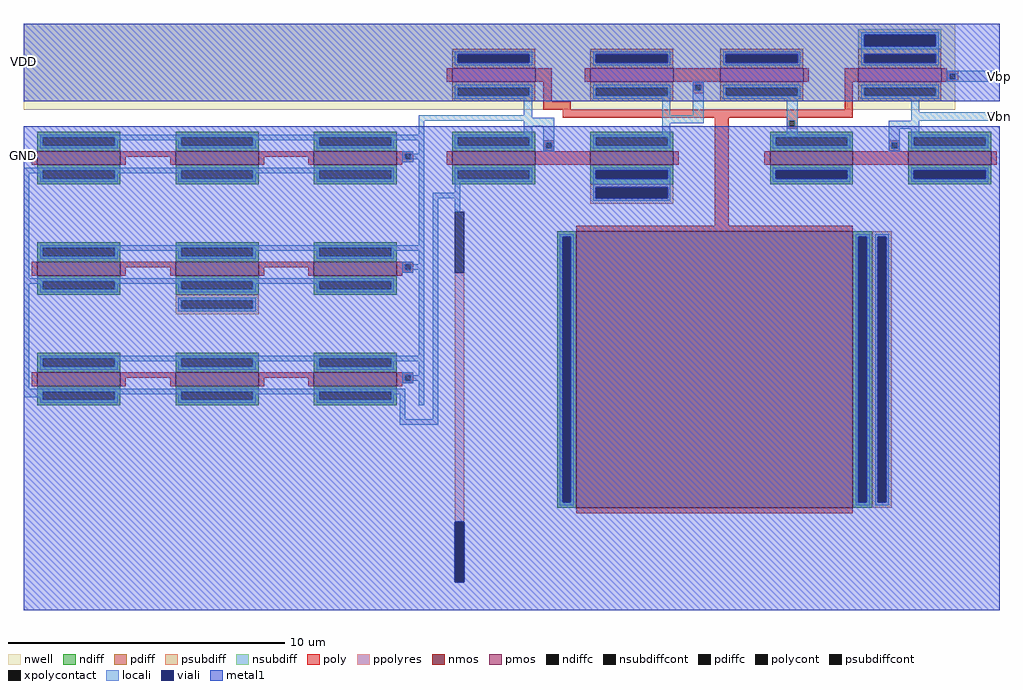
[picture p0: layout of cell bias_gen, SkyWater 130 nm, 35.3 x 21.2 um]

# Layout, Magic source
magic
tech sky130A
<< nwell >>
rect -1660 250 1710 560
<< nmos >>
rect -1610 50 -1310 100
rect -1110 50 -810 100
rect -610 50 -310 100
rect -110 50 190 100
rect 390 50 690 100
rect -1610 -350 -1310 -300
rect -1110 -350 -810 -300
rect -610 -350 -310 -300
rect 1040 50 1340 100
rect 1540 50 1840 100
rect -1610 -750 -1310 -700
rect -1110 -750 -810 -700
rect -610 -750 -310 -700
rect 340 -1190 1340 -190
<< pmos >>
rect -110 350 190 400
rect 390 350 690 400
rect 860 350 1160 400
rect 1360 350 1660 400
<< ndiff >>
rect -1610 150 -1310 170
rect -1610 120 -1590 150
rect -1330 120 -1310 150
rect -1610 100 -1310 120
rect -1110 150 -810 170
rect -1110 120 -1090 150
rect -830 120 -810 150
rect -1110 100 -810 120
rect -610 150 -310 170
rect -610 120 -590 150
rect -330 120 -310 150
rect -610 100 -310 120
rect -110 150 190 170
rect -110 120 -90 150
rect 170 120 190 150
rect 390 150 690 170
rect -110 100 190 120
rect 390 120 410 150
rect 670 120 690 150
rect 390 100 690 120
rect -1610 30 -1310 50
rect -1610 0 -1590 30
rect -1330 0 -1310 30
rect -1610 -20 -1310 0
rect -1110 30 -810 50
rect -1110 0 -1090 30
rect -830 0 -810 30
rect -1110 -20 -810 0
rect -610 30 -310 50
rect -610 0 -590 30
rect -330 0 -310 30
rect -610 -20 -310 0
rect -110 30 190 50
rect -110 0 -90 30
rect 170 0 190 30
rect -110 -20 190 0
rect 390 30 690 50
rect 390 0 410 30
rect 670 0 690 30
rect 390 -20 690 0
rect -1610 -250 -1310 -230
rect -1610 -280 -1590 -250
rect -1330 -280 -1310 -250
rect -1610 -300 -1310 -280
rect -1110 -250 -810 -230
rect -1110 -280 -1090 -250
rect -830 -280 -810 -250
rect -1110 -300 -810 -280
rect -610 -250 -310 -230
rect -610 -280 -590 -250
rect -330 -280 -310 -250
rect -610 -300 -310 -280
rect 1040 150 1340 170
rect 1040 120 1060 150
rect 1320 120 1340 150
rect 1540 150 1840 170
rect 1040 100 1340 120
rect 1540 120 1560 150
rect 1820 120 1840 150
rect 1540 100 1840 120
rect 1040 30 1340 50
rect 1040 0 1060 30
rect 1320 0 1340 30
rect 1040 -20 1340 0
rect 1540 30 1840 50
rect 1540 0 1560 30
rect 1820 0 1840 30
rect 1540 -20 1840 0
rect -1610 -370 -1310 -350
rect -1610 -400 -1590 -370
rect -1330 -400 -1310 -370
rect -1610 -420 -1310 -400
rect -1110 -370 -810 -350
rect -1110 -400 -1090 -370
rect -830 -400 -810 -370
rect -1110 -420 -810 -400
rect -610 -370 -310 -350
rect -610 -400 -590 -370
rect -330 -400 -310 -370
rect -610 -420 -310 -400
rect -1610 -650 -1310 -630
rect -1610 -680 -1590 -650
rect -1330 -680 -1310 -650
rect -1610 -700 -1310 -680
rect -1110 -650 -810 -630
rect -1110 -680 -1090 -650
rect -830 -680 -810 -650
rect -1110 -700 -810 -680
rect -610 -650 -310 -630
rect -610 -680 -590 -650
rect -330 -680 -310 -650
rect -610 -700 -310 -680
rect -1610 -770 -1310 -750
rect -1610 -800 -1590 -770
rect -1330 -800 -1310 -770
rect -1610 -820 -1310 -800
rect -1110 -770 -810 -750
rect -1110 -800 -1090 -770
rect -830 -800 -810 -770
rect -1110 -820 -810 -800
rect -610 -770 -310 -750
rect -610 -800 -590 -770
rect -330 -800 -310 -770
rect -610 -820 -310 -800
rect 270 -210 340 -190
rect 270 -1170 290 -210
rect 320 -1170 340 -210
rect 270 -1190 340 -1170
rect 1340 -210 1410 -190
rect 1340 -1170 1360 -210
rect 1390 -1170 1410 -210
rect 1340 -1190 1410 -1170
<< pdiff >>
rect -110 450 190 470
rect -110 420 -90 450
rect 170 420 190 450
rect -110 400 190 420
rect 390 450 690 470
rect 390 420 410 450
rect 670 420 690 450
rect 390 400 690 420
rect 860 450 1160 470
rect 860 420 880 450
rect 1140 420 1160 450
rect 860 400 1160 420
rect 1360 450 1660 470
rect 1360 420 1380 450
rect 1640 420 1660 450
rect 1360 400 1660 420
rect -110 330 190 350
rect -110 300 -90 330
rect 170 300 190 330
rect -110 280 190 300
rect 390 330 690 350
rect 390 300 410 330
rect 670 300 690 330
rect 860 330 1160 350
rect 390 280 690 300
rect 860 300 880 330
rect 1140 300 1160 330
rect 860 280 1160 300
rect 1360 330 1660 350
rect 1360 300 1380 330
rect 1640 300 1660 330
rect 1360 280 1660 300
<< ndiffc >>
rect -1590 120 -1330 150
rect -1090 120 -830 150
rect -590 120 -330 150
rect -90 120 170 150
rect 410 120 670 150
rect -1590 0 -1330 30
rect -1090 0 -830 30
rect -590 0 -330 30
rect -90 0 170 30
rect 410 0 670 30
rect -1590 -280 -1330 -250
rect -1090 -280 -830 -250
rect -590 -280 -330 -250
rect 1060 120 1320 150
rect 1560 120 1820 150
rect 1060 0 1320 30
rect 1560 0 1820 30
rect -1590 -400 -1330 -370
rect -1090 -400 -830 -370
rect -590 -400 -330 -370
rect -1590 -680 -1330 -650
rect -1090 -680 -830 -650
rect -590 -680 -330 -650
rect -1590 -800 -1330 -770
rect -1090 -800 -830 -770
rect -590 -800 -330 -770
rect 290 -1170 320 -210
rect 1360 -1170 1390 -210
<< pdiffc >>
rect -90 420 170 450
rect 410 420 670 450
rect 880 420 1140 450
rect 1380 420 1640 450
rect -90 300 170 330
rect 410 300 670 330
rect 880 300 1140 330
rect 1380 300 1640 330
<< psubdiff >>
rect 390 -30 690 -20
rect 390 -70 410 -30
rect 670 -70 690 -30
rect 390 -90 690 -70
rect -1110 -440 -810 -420
rect -1110 -470 -1090 -440
rect -830 -470 -810 -440
rect -1110 -490 -810 -470
rect 1410 -210 1480 -190
rect 1410 -1170 1430 -210
rect 1460 -1170 1480 -210
rect 1410 -1190 1480 -1170
<< nsubdiff >>
rect 1360 520 1660 540
rect 1360 480 1380 520
rect 1640 480 1660 520
rect 1360 470 1660 480
<< psubdiffcont >>
rect 410 -70 670 -30
rect -1090 -470 -830 -440
rect 1430 -1170 1460 -210
<< nsubdiffcont >>
rect 1380 480 1640 520
<< poly >>
rect -130 350 -110 400
rect 190 350 250 400
rect 370 350 390 400
rect 690 350 860 400
rect 1160 350 1180 400
rect 1310 350 1360 400
rect 1660 390 1680 400
rect 1660 380 1720 390
rect 1660 360 1690 380
rect 1710 360 1720 380
rect 1660 350 1720 360
rect 220 280 250 350
rect 760 340 800 350
rect 760 320 770 340
rect 790 320 800 340
rect 760 310 800 320
rect 220 250 320 280
rect 1310 250 1340 350
rect 290 220 1340 250
rect 220 130 260 140
rect 220 110 230 130
rect 250 110 260 130
rect 220 100 260 110
rect -1630 50 -1610 100
rect -1310 80 -1110 100
rect -1310 50 -1290 80
rect -1130 50 -1110 80
rect -810 80 -610 100
rect -810 50 -790 80
rect -630 50 -610 80
rect -310 90 -250 100
rect -310 70 -280 90
rect -260 70 -250 90
rect -310 60 -250 70
rect -310 50 -290 60
rect -130 50 -110 100
rect 190 50 390 100
rect 690 50 710 100
rect -1630 -350 -1610 -300
rect -1310 -320 -1110 -300
rect -1310 -350 -1290 -320
rect -1130 -350 -1110 -320
rect -810 -320 -610 -300
rect -810 -350 -790 -320
rect -630 -350 -610 -320
rect -310 -310 -250 -300
rect -310 -330 -280 -310
rect -260 -330 -250 -310
rect -310 -340 -250 -330
rect 840 -170 890 220
rect 1100 210 1140 220
rect 1100 190 1110 210
rect 1130 190 1140 210
rect 1100 180 1140 190
rect 1470 130 1510 140
rect 1470 110 1480 130
rect 1500 110 1510 130
rect 1470 100 1510 110
rect 1020 50 1040 100
rect 1340 50 1540 100
rect 1840 50 1860 100
rect 340 -190 1340 -170
rect -310 -350 -290 -340
rect -1630 -750 -1610 -700
rect -1310 -720 -1110 -700
rect -1310 -750 -1290 -720
rect -1130 -750 -1110 -720
rect -810 -720 -610 -700
rect -810 -750 -790 -720
rect -630 -750 -610 -720
rect -310 -710 -250 -700
rect -310 -730 -280 -710
rect -260 -730 -250 -710
rect -310 -740 -250 -730
rect -310 -750 -290 -740
rect 340 -1210 1340 -1190
<< polycont >>
rect 1690 360 1710 380
rect 770 320 790 340
rect 230 110 250 130
rect -280 70 -260 90
rect -280 -330 -260 -310
rect 1110 190 1130 210
rect 1480 110 1500 130
rect -280 -730 -260 -710
<< xpolycontact >>
rect -100 -340 -65 -120
rect -100 -1460 -65 -1240
<< ppolyres >>
rect -100 -1240 -65 -340
<< locali >>
rect 1370 520 1650 530
rect 1370 480 1380 520
rect 1640 480 1650 520
rect -100 450 180 460
rect -100 420 -90 450
rect 170 420 180 450
rect -100 410 180 420
rect 400 450 680 460
rect 400 420 410 450
rect 670 420 680 450
rect 400 410 680 420
rect 870 450 1150 460
rect 870 420 880 450
rect 1140 420 1150 450
rect 870 410 1150 420
rect 1370 450 1650 480
rect 1370 420 1380 450
rect 1640 420 1650 450
rect 1370 410 1650 420
rect 1680 380 1870 390
rect 1680 360 1690 380
rect 1710 360 1870 380
rect 1680 350 1870 360
rect 760 340 800 350
rect -100 330 180 340
rect -100 300 -90 330
rect 170 300 180 330
rect -100 290 180 300
rect 400 330 680 340
rect 400 300 410 330
rect 670 300 680 330
rect 400 290 680 300
rect 150 230 180 290
rect -230 220 180 230
rect 650 230 680 290
rect 760 320 770 340
rect 790 320 800 340
rect 760 230 800 320
rect 870 330 1150 340
rect 870 300 880 330
rect 1140 300 1150 330
rect 870 290 1150 300
rect 1370 330 1650 340
rect 1370 300 1380 330
rect 1640 300 1650 330
rect 1370 290 1650 300
rect -230 210 260 220
rect -230 160 -210 210
rect 150 190 260 210
rect 150 160 180 190
rect -1600 150 -210 160
rect -1600 120 -1590 150
rect -1330 140 -1090 150
rect -1330 120 -1320 140
rect -1600 110 -1320 120
rect -1100 120 -1090 140
rect -830 140 -590 150
rect -830 120 -820 140
rect -1100 110 -820 120
rect -600 120 -590 140
rect -330 140 -210 150
rect -330 120 -320 140
rect -600 110 -320 120
rect -290 90 -250 100
rect -230 90 -210 140
rect -100 150 180 160
rect -100 120 -90 150
rect 170 120 180 150
rect -100 110 180 120
rect 220 130 260 190
rect 650 200 800 230
rect 1100 210 1140 290
rect 1550 240 1580 290
rect 1550 210 1870 240
rect 650 160 680 200
rect 1100 190 1110 210
rect 1130 190 1140 210
rect 1100 160 1140 190
rect 1470 180 1580 210
rect 220 110 230 130
rect 250 110 260 130
rect 400 150 680 160
rect 400 120 410 150
rect 670 120 680 150
rect 400 110 680 120
rect 1050 150 1330 160
rect 1050 120 1060 150
rect 1320 120 1330 150
rect 1050 110 1330 120
rect 1470 130 1510 180
rect 1470 110 1480 130
rect 1500 110 1510 130
rect 1550 160 1580 180
rect 1550 150 1830 160
rect 1550 120 1560 150
rect 1820 120 1830 150
rect 1550 110 1830 120
rect 220 100 260 110
rect 1470 100 1510 110
rect -290 70 -280 90
rect -260 70 -210 90
rect -290 60 -250 70
rect -1660 30 -320 40
rect -1660 20 -1590 30
rect -1660 -360 -1640 20
rect -1600 0 -1590 20
rect -1330 20 -1090 30
rect -1330 0 -1320 20
rect -1600 -10 -1320 0
rect -1100 0 -1090 20
rect -830 20 -590 30
rect -830 0 -820 20
rect -1100 -10 -820 0
rect -600 0 -590 20
rect -330 0 -320 30
rect -600 -10 -320 0
rect -230 -240 -210 70
rect -100 30 180 40
rect -100 0 -90 30
rect 170 0 180 30
rect -100 -10 180 0
rect 400 30 680 40
rect 400 0 410 30
rect 670 0 680 30
rect -100 -50 -80 -10
rect -1600 -250 -210 -240
rect -1600 -280 -1590 -250
rect -1330 -260 -1090 -250
rect -1330 -280 -1320 -260
rect -1600 -290 -1320 -280
rect -1100 -280 -1090 -260
rect -830 -260 -590 -250
rect -830 -280 -820 -260
rect -1100 -290 -820 -280
rect -600 -280 -590 -260
rect -330 -260 -210 -250
rect -330 -280 -320 -260
rect -600 -290 -320 -280
rect -290 -310 -250 -300
rect -230 -310 -210 -260
rect -290 -330 -280 -310
rect -260 -330 -210 -310
rect -290 -340 -250 -330
rect -1660 -370 -320 -360
rect -1660 -380 -1590 -370
rect -1660 -760 -1640 -380
rect -1600 -400 -1590 -380
rect -1330 -380 -1090 -370
rect -1330 -400 -1320 -380
rect -1600 -410 -1320 -400
rect -1100 -400 -1090 -380
rect -830 -380 -590 -370
rect -830 -400 -820 -380
rect -1100 -410 -820 -400
rect -600 -400 -590 -380
rect -330 -400 -320 -370
rect -600 -410 -320 -400
rect -1100 -440 -820 -430
rect -1100 -470 -1090 -440
rect -830 -470 -820 -440
rect -1100 -480 -820 -470
rect -230 -640 -210 -330
rect -1600 -650 -210 -640
rect -1600 -680 -1590 -650
rect -1330 -660 -1090 -650
rect -1330 -680 -1320 -660
rect -1600 -690 -1320 -680
rect -1100 -680 -1090 -660
rect -830 -660 -590 -650
rect -830 -680 -820 -660
rect -1100 -690 -820 -680
rect -600 -680 -590 -660
rect -330 -660 -210 -650
rect -330 -680 -320 -660
rect -600 -690 -320 -680
rect -290 -710 -250 -700
rect -230 -710 -210 -660
rect -290 -730 -280 -710
rect -260 -730 -210 -710
rect -290 -740 -250 -730
rect -1660 -770 -280 -760
rect -1660 -790 -1590 -770
rect -1600 -800 -1590 -790
rect -1330 -780 -1090 -770
rect -1330 -800 -1320 -780
rect -1600 -810 -1320 -800
rect -1100 -800 -1090 -780
rect -830 -780 -590 -770
rect -830 -800 -820 -780
rect -1100 -810 -820 -800
rect -600 -800 -590 -780
rect -330 -780 -280 -770
rect -330 -800 -320 -780
rect -600 -810 -320 -800
rect -300 -870 -280 -780
rect -230 -820 -210 -730
rect -180 -70 -80 -50
rect -180 -870 -160 -70
rect -100 -120 -80 -70
rect 400 -30 680 0
rect 1050 30 1330 40
rect 1050 0 1060 30
rect 1320 0 1330 30
rect 1050 -10 1330 0
rect 1550 30 1830 40
rect 1550 0 1560 30
rect 1820 0 1830 30
rect 1550 -10 1830 0
rect 400 -70 410 -30
rect 670 -70 680 -30
rect 400 -80 680 -70
rect 280 -210 330 -200
rect -300 -890 -160 -870
rect 280 -1170 290 -210
rect 320 -1170 330 -210
rect 280 -1180 330 -1170
rect 1350 -210 1400 -200
rect 1350 -1170 1360 -210
rect 1390 -1170 1400 -210
rect 1350 -1180 1400 -1170
rect 1420 -210 1470 -200
rect 1420 -1170 1430 -210
rect 1460 -1170 1470 -210
rect 1420 -1180 1470 -1170
<< viali >>
rect 1380 480 1640 520
rect -90 420 170 450
rect 410 420 670 450
rect 880 420 1140 450
rect 1380 420 1640 450
rect 410 0 670 30
rect 1060 0 1320 30
rect 1560 0 1820 30
rect 410 -70 670 -30
rect 290 -1170 320 -210
rect 1360 -1170 1390 -210
rect 1430 -1170 1460 -210
rect -100 -1460 -65 -1240
<< metal1 >>
rect -1660 520 1870 560
rect -1660 480 1380 520
rect 1640 480 1870 520
rect -1660 450 1870 480
rect -1660 420 -90 450
rect 170 420 410 450
rect 670 420 880 450
rect 1140 420 1380 450
rect 1640 420 1870 450
rect -1660 280 1870 420
rect -1660 30 1870 190
rect -1660 0 410 30
rect 670 0 1060 30
rect 1320 0 1560 30
rect 1820 0 1870 30
rect -1660 -30 1870 0
rect -1660 -70 410 -30
rect 670 -70 1870 -30
rect -1660 -210 1870 -70
rect -1660 -1170 290 -210
rect 320 -1170 1360 -210
rect 1390 -1170 1430 -210
rect 1460 -1170 1870 -210
rect -1660 -1240 1870 -1170
rect -1660 -1460 -100 -1240
rect -65 -1460 1870 -1240
rect -1660 -1560 1870 -1460
<< labels >>
rlabel locali 1870 370 1870 370 3 Vbp
port 1 e
rlabel locali 1870 225 1870 225 3 Vbn
port 2 e
rlabel metal1 -1660 425 -1660 425 7 VDD
port 3 w
rlabel metal1 -1660 85 -1660 85 7 GND
port 4 w
<< properties >>
string MASKHINTS_RPM -165 -1505 5 -55
<< end >>
